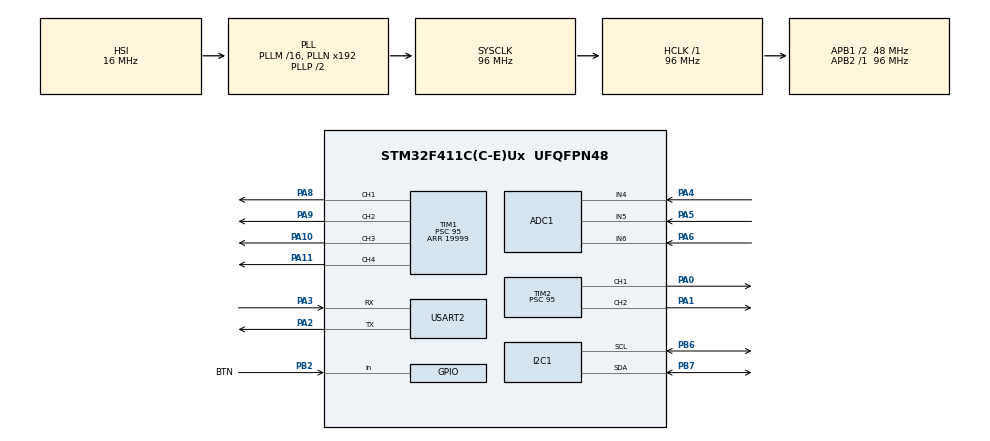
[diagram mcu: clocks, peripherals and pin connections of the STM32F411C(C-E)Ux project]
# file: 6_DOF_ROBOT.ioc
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ADC1.Channel-0\#ChannelRegularConversion=ADC_CHANNEL_4
ADC1.Channel-1\#ChannelRegularConversion=ADC_CHANNEL_5
ADC1.Channel-2\#ChannelRegularConversion=ADC_CHANNEL_6
ADC1.DMAContinuousRequests=ENABLE
ADC1.ExternalTrigConv=ADC_EXTERNALTRIGCONV_T3_TRGO
ADC1.NbrOfConversion=3
ADC1.NbrOfConversionFlag=1
ADC1.Rank-0\#ChannelRegularConversion=1
ADC1.Rank-1\#ChannelRegularConversion=2
ADC1.Rank-2\#ChannelRegularConversion=3
ADC1.SamplingTime-0\#ChannelRegularConversion=ADC_SAMPLETIME_3CYCLES
ADC1.SamplingTime-1\#ChannelRegularConversion=ADC_SAMPLETIME_3CYCLES
ADC1.SamplingTime-2\#ChannelRegularConversion=ADC_SAMPLETIME_3CYCLES
ADC1.master=1
Dma.ADC1.0.Direction=DMA_PERIPH_TO_MEMORY
Dma.ADC1.0.FIFOMode=DMA_FIFOMODE_DISABLE
Dma.ADC1.0.Instance=DMA2_Stream0
Dma.ADC1.0.MemDataAlignment=DMA_MDATAALIGN_HALFWORD
Dma.ADC1.0.MemInc=DMA_MINC_ENABLE
Dma.ADC1.0.Mode=DMA_CIRCULAR
Dma.ADC1.0.PeriphDataAlignment=DMA_PDATAALIGN_HALFWORD
Dma.ADC1.0.PeriphInc=DMA_PINC_DISABLE
Dma.ADC1.0.Priority=DMA_PRIORITY_LOW
Dma.Request0=ADC1
Mcu.Family=STM32F4
Mcu.Name=STM32F411C(C-E)Ux
Mcu.Package=UFQFPN48
NVIC.DMA2_Stream0_IRQn=true\:0\:0\:false\:false\:true\:false\:true\:true
NVIC.PriorityGroup=NVIC_PRIORITYGROUP_4
NVIC.USART2_IRQn=true\:0\:0\:false\:false\:true\:true\:true\:true
PA0-WKUP.Signal=S_TIM2_CH1_ETR
PA1.Signal=S_TIM2_CH2
PA10.Signal=S_TIM1_CH3
PA11.Signal=S_TIM1_CH4
PA2.Mode=Asynchronous
PA2.Signal=USART2_TX
PA3.Mode=Asynchronous
PA3.Signal=USART2_RX
PA4.Signal=ADCx_IN4
PA5.Signal=ADCx_IN5
PA6.Signal=ADCx_IN6
PA8.Signal=S_TIM1_CH1
PA9.Signal=S_TIM1_CH2
PB2.GPIO_Label=BTN
PB2.Signal=GPIO_Input
PB6.Mode=I2C
PB6.Signal=I2C1_SCL
PB7.Mode=I2C
PB7.Signal=I2C1_SDA
ProjectManager.HeapSize=0x200
ProjectManager.StackSize=0x400
ProjectManager.TargetToolchain=STM32CubeIDE
RCC.AHBFreq_Value=96000000
RCC.APB1CLKDivider=RCC_HCLK_DIV2
RCC.APB1Freq_Value=48000000
RCC.APB1TimFreq_Value=96000000
RCC.APB2Freq_Value=96000000
RCC.APB2TimFreq_Value=96000000
RCC.CortexFreq_Value=96000000
RCC.HCLKFreq_Value=96000000
RCC.HSE_VALUE=25000000
RCC.HSI_VALUE=16000000
RCC.LSE_VALUE=32768
RCC.SYSCLKFreq_VALUE=96000000
RCC.SYSCLKSource=RCC_SYSCLKSOURCE_PLLCLK
RCC.VCOOutputFreq_Value=192000000
SH.ADCx_IN4.0=ADC1_IN4,IN4
SH.ADCx_IN5.0=ADC1_IN5,IN5
SH.ADCx_IN6.0=ADC1_IN6,IN6
SH.S_TIM1_CH1.0=TIM1_CH1,PWM Generation1 CH1
SH.S_TIM1_CH2.0=TIM1_CH2,PWM Generation2 CH2
SH.S_TIM1_CH3.0=TIM1_CH3,PWM Generation3 CH3
SH.S_TIM1_CH4.0=TIM1_CH4,PWM Generation4 CH4
SH.S_TIM2_CH1_ETR.0=TIM2_CH1,PWM Generation1 CH1
SH.S_TIM2_CH2.0=TIM2_CH2,PWM Generation2 CH2
TIM1.Channel-PWM\ Generation1\ CH1=TIM_CHANNEL_1
TIM1.Channel-PWM\ Generation2\ CH2=TIM_CHANNEL_2
TIM1.Channel-PWM\ Generation3\ CH3=TIM_CHANNEL_3
TIM1.Channel-PWM\ Generation4\ CH4=TIM_CHANNEL_4
TIM1.Period=19999
TIM1.Prescaler=95
TIM1.Pulse-PWM\ Generation1\ CH1=1000
TIM1.Pulse-PWM\ Generation2\ CH2=1000
TIM1.Pulse-PWM\ Generation3\ CH3=1000
TIM1.Pulse-PWM\ Generation4\ CH4=1000
TIM2.Channel-PWM\ Generation1\ CH1=TIM_CHANNEL_1
TIM2.Channel-PWM\ Generation2\ CH2=TIM_CHANNEL_2
TIM2.Period=19999
TIM2.Prescaler=95
TIM2.Pulse-PWM\ Generation1\ CH1=1000
TIM2.Pulse-PWM\ Generation2\ CH2=1000
TIM3.Period=999
TIM3.Prescaler=95
TIM3.TIM_MasterOutputTrigger=TIM_TRGO_UPDATE
USART2.VirtualMode=VM_ASYNC
VP_TIM1_VS_ClockSourceINT.Mode=Internal
VP_TIM3_VS_ClockSourceINT.Mode=Internal
board=custom

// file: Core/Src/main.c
/* USER CODE BEGIN Header */
/**
 ******************************************************************************
 * @file           : main.c
 * @brief          : Main program body
 ******************************************************************************
 * @attention
 *
 * Copyright (c) 2026 STMicroelectronics.
 * All rights reserved.
 *
 * This software is licensed under terms that can be found in the LICENSE file
 * in the root directory of this software component.
 * If no LICENSE file comes with this software, it is provided AS-IS.
 *
 ******************************************************************************
 */
/* USER CODE END Header */
#include "main.h"

/* USER CODE BEGIN Includes */
#include <stdio.h>
#include <stdlib.h>
#include <stdbool.h>
#include <math.h>
#include <string.h>

#include "oled.h"
#include "nm_simplex.h"
#include "servo.h"
#include "utils.h"
/* USER CODE END Includes */

/* USER CODE BEGIN PD */

/*   SERVOS   */
#define SERVO_COUNT 	6

/*   DELAYS   */
#define INPUT_DELAY 	50
#define BTN_DELAY 		1000

/*   INPUTS   */
#define DEADZONE		120
#define AXIS_SPEED		1
#define AXIS_INVERSION	-1
#define DT				1
#define ADC_CENTER		2048
#define ADC_DIV			1000

/*   IK   */
#define IK_ITERATIONS	20

/* USER CODE END PD */

ADC_HandleTypeDef hadc1;
DMA_HandleTypeDef hdma_adc1;

I2C_HandleTypeDef hi2c1;

TIM_HandleTypeDef htim1;
TIM_HandleTypeDef htim2;
TIM_HandleTypeDef htim3;

UART_HandleTypeDef huart2;

/* USER CODE BEGIN PV */

uint8_t uart2_rx;
uint8_t uart2_buf[64];
uint8_t uart2_idx = 0;

/*   SERVOS    */

servo_t servos[SERVO_COUNT];

typedef enum {
	R_START = 0,
	R_BASE_ZERO_PRE,
	R_BASE_ZERO,
	R_BASE_PRE,
	R_BASE,
	R_IK,
	R_CMD_POS,
	R_ZERO_PRE,
	R_ZERO
} robot_state_t;

robot_state_t robot_state = R_START;

/*    IK    */
uint8_t update_ik = 0;

int16_t workspaceX_lim[2] = { -500, -50 };
int16_t workspaceY_lim[2] = { -500, 500 };
int16_t workspaceZ_lim[2] = { 30, 500 };

int16_t ik_phi0[4] = { 0 };
int16_t ik_solution[4] = { 0 };
int32_t ik_score = 0;
int16_t ik_target_pos[3] = { 0 };

int16_t phi_min[4] = { -80, -60, -15, -15 };
int16_t phi_max[4] = { 80, 60, 90, 90 };

int16_t ik_debug_xdeg[4];
int16_t ik_pos[3];
uint16_t ik_debug_xpos[4];

uint16_t servo_pulse[6] = { 0 };

/*   BASE   */
int16_t base_pos[4] = { 50, 40, 60, 15 };
int16_t base_point[3] = { -56, 15, 151 };

/*   CONTROLS   */

uint32_t last_button_click = 0;
uint8_t last_button_state = 1;
uint32_t last_inputs_check = 0;

uint16_t adc_buf[3];

int16_t controls_pos[3];

/*   Display  */
uint8_t gUpdateDisplay = 1;
char disp_buff[64];

/* USER CODE END PV */

void SystemClock_Config(void);
static void MX_GPIO_Init(void);
static void MX_DMA_Init(void);
static void MX_TIM1_Init(void);
static void MX_TIM2_Init(void);
static void MX_USART2_UART_Init(void);
static void MX_ADC1_Init(void);
static void MX_TIM3_Init(void);
static void MX_I2C1_Init(void);
/* USER CODE BEGIN PFP */

void parse_servo_command(char* buf);

void robotHandle();
void ikHandle();
void inputsHandle();
void buttonsHandle();
void displayHandle();

/* USER CODE END PFP */

int main(void) {

	/* MCU Configuration--------------------------------------------------------*/

	/* Reset of all peripherals, Initializes the Flash interface and the Systick. */
	HAL_Init();

	/* Configure the system clock */
	SystemClock_Config();

	/* Initialize all configured peripherals */
	MX_GPIO_Init();
	MX_DMA_Init();
	MX_TIM1_Init();
	MX_TIM2_Init();
	MX_USART2_UART_Init();
	MX_ADC1_Init();
	MX_TIM3_Init();
	MX_I2C1_Init();
	/* USER CODE BEGIN 2 */

	/*  CALCULATE ANGLES  */
	deg_to_pos(ik_phi0, 4);
	deg_to_pos(phi_min, 4);
	deg_to_pos(phi_max, 4);
	deg_to_pos(base_pos, 4);

	/*  ADC INIT  */
	HAL_TIM_Base_Start(&htim3);
	HAL_ADC_Start_DMA(&hadc1, (uint32_t*) adc_buf, 3);

	/*  DISPLAY INIT  */
	OLED_Init(&hi2c1);
	OLED_Clear();
	gUpdateDisplay = 1;

	/*  SERVOS INIT  */
	servoInit(&servos[0], &htim1, TIM_CHANNEL_1, 550, 2450, SERVO_POS_MID, 0);
	servoInit(&servos[1], &htim1, TIM_CHANNEL_2, 550, 2400, SERVO_POS_MID, 0);
	servoInit(&servos[2], &htim1, TIM_CHANNEL_3, 530, 2350, SERVO_POS_MID, 0);
	servoInit(&servos[3], &htim1, TIM_CHANNEL_4, 525, 2425, SERVO_POS_MID, 1);
	servoInit(&servos[4], &htim2, TIM_CHANNEL_1, 700, 2600, SERVO_POS_MID, 0);
	servoInit(&servos[5], &htim2, TIM_CHANNEL_2, 700, 2600, SERVO_POS_MID, 0);

	/*  UART RECEIVE  */
	HAL_UART_Receive_IT(&huart2, &uart2_rx, 1);

	/* USER CODE END 2 */

	/* Infinite loop */
	/* USER CODE BEGIN WHILE */
	while (1) {
		robotHandle();
		ikHandle();
		inputsHandle();
		buttonsHandle();
		displayHandle();

		/* USER CODE END WHILE */

	}
}

void SystemClock_Config(void) {
	RCC_OscInitTypeDef RCC_OscInitStruct = { 0 };
	RCC_ClkInitTypeDef RCC_ClkInitStruct = { 0 };

	/** Configure the main internal regulator output voltage
	 */
	__HAL_RCC_PWR_CLK_ENABLE();
	__HAL_PWR_VOLTAGESCALING_CONFIG(PWR_REGULATOR_VOLTAGE_SCALE1);

	/** Initializes the RCC Oscillators according to the specified parameters
	 * in the RCC_OscInitTypeDef structure.
	 */
	RCC_OscInitStruct.OscillatorType = RCC_OSCILLATORTYPE_HSI;
	RCC_OscInitStruct.HSIState = RCC_HSI_ON;
	RCC_OscInitStruct.HSICalibrationValue = RCC_HSICALIBRATION_DEFAULT;
	RCC_OscInitStruct.PLL.PLLState = RCC_PLL_ON;
	RCC_OscInitStruct.PLL.PLLSource = RCC_PLLSOURCE_HSI;
	RCC_OscInitStruct.PLL.PLLM = 16;
	RCC_OscInitStruct.PLL.PLLN = 192;
	RCC_OscInitStruct.PLL.PLLP = RCC_PLLP_DIV2;
	RCC_OscInitStruct.PLL.PLLQ = 4;
	if (HAL_RCC_OscConfig(&RCC_OscInitStruct) != HAL_OK) {
		Error_Handler();
	}

	/** Initializes the CPU, AHB and APB buses clocks
	 */
	RCC_ClkInitStruct.ClockType = RCC_CLOCKTYPE_HCLK | RCC_CLOCKTYPE_SYSCLK
			| RCC_CLOCKTYPE_PCLK1 | RCC_CLOCKTYPE_PCLK2;
	RCC_ClkInitStruct.SYSCLKSource = RCC_SYSCLKSOURCE_PLLCLK;
	RCC_ClkInitStruct.AHBCLKDivider = RCC_SYSCLK_DIV1;
	RCC_ClkInitStruct.APB1CLKDivider = RCC_HCLK_DIV2;
	RCC_ClkInitStruct.APB2CLKDivider = RCC_HCLK_DIV1;

	if (HAL_RCC_ClockConfig(&RCC_ClkInitStruct, FLASH_LATENCY_3) != HAL_OK) {
		Error_Handler();
	}
}

static void MX_ADC1_Init(void) {

	ADC_ChannelConfTypeDef sConfig = { 0 };

	/** Configure the global features of the ADC (Clock, Resolution, Data Alignment and number of conversion)
	 */
	hadc1.Instance = ADC1;
	hadc1.Init.ClockPrescaler = ADC_CLOCK_SYNC_PCLK_DIV4;
	hadc1.Init.Resolution = ADC_RESOLUTION_12B;
	hadc1.Init.ScanConvMode = ENABLE;
	hadc1.Init.ContinuousConvMode = DISABLE;
	hadc1.Init.DiscontinuousConvMode = DISABLE;
	hadc1.Init.ExternalTrigConvEdge = ADC_EXTERNALTRIGCONVEDGE_RISING;
	hadc1.Init.ExternalTrigConv = ADC_EXTERNALTRIGCONV_T3_TRGO;
	hadc1.Init.DataAlign = ADC_DATAALIGN_RIGHT;
	hadc1.Init.NbrOfConversion = 3;
	hadc1.Init.DMAContinuousRequests = ENABLE;
	hadc1.Init.EOCSelection = ADC_EOC_SINGLE_CONV;
	if (HAL_ADC_Init(&hadc1) != HAL_OK) {
		Error_Handler();
	}

	/** Configure for the selected ADC regular channel its corresponding rank in the sequencer and its sample time.
	 */
	sConfig.Channel = ADC_CHANNEL_4;
	sConfig.Rank = 1;
	sConfig.SamplingTime = ADC_SAMPLETIME_3CYCLES;
	if (HAL_ADC_ConfigChannel(&hadc1, &sConfig) != HAL_OK) {
		Error_Handler();
	}

	/** Configure for the selected ADC regular channel its corresponding rank in the sequencer and its sample time.
	 */
	sConfig.Channel = ADC_CHANNEL_5;
	sConfig.Rank = 2;
	if (HAL_ADC_ConfigChannel(&hadc1, &sConfig) != HAL_OK) {
		Error_Handler();
	}

	/** Configure for the selected ADC regular channel its corresponding rank in the sequencer and its sample time.
	 */
	sConfig.Channel = ADC_CHANNEL_6;
	sConfig.Rank = 3;
	if (HAL_ADC_ConfigChannel(&hadc1, &sConfig) != HAL_OK) {
		Error_Handler();
	}

}

static void MX_I2C1_Init(void) {

	hi2c1.Instance = I2C1;
	hi2c1.Init.ClockSpeed = 100000;
	hi2c1.Init.DutyCycle = I2C_DUTYCYCLE_2;
	hi2c1.Init.OwnAddress1 = 0;
	hi2c1.Init.AddressingMode = I2C_ADDRESSINGMODE_7BIT;
	hi2c1.Init.DualAddressMode = I2C_DUALADDRESS_DISABLE;
	hi2c1.Init.OwnAddress2 = 0;
	hi2c1.Init.GeneralCallMode = I2C_GENERALCALL_DISABLE;
	hi2c1.Init.NoStretchMode = I2C_NOSTRETCH_DISABLE;
	if (HAL_I2C_Init(&hi2c1) != HAL_OK) {
		Error_Handler();
	}

}

static void MX_TIM1_Init(void) {

	TIM_ClockConfigTypeDef sClockSourceConfig = { 0 };
	TIM_MasterConfigTypeDef sMasterConfig = { 0 };
	TIM_OC_InitTypeDef sConfigOC = { 0 };
	TIM_BreakDeadTimeConfigTypeDef sBreakDeadTimeConfig = { 0 };

	htim1.Instance = TIM1;
	htim1.Init.Prescaler = 95;
	htim1.Init.CounterMode = TIM_COUNTERMODE_UP;
	htim1.Init.Period = 19999;
	htim1.Init.ClockDivision = TIM_CLOCKDIVISION_DIV1;
	htim1.Init.RepetitionCounter = 0;
	htim1.Init.AutoReloadPreload = TIM_AUTORELOAD_PRELOAD_DISABLE;
	if (HAL_TIM_Base_Init(&htim1) != HAL_OK) {
		Error_Handler();
	}
	sClockSourceConfig.ClockSource = TIM_CLOCKSOURCE_INTERNAL;
	if (HAL_TIM_ConfigClockSource(&htim1, &sClockSourceConfig) != HAL_OK) {
		Error_Handler();
	}
	if (HAL_TIM_PWM_Init(&htim1) != HAL_OK) {
		Error_Handler();
	}
	sMasterConfig.MasterOutputTrigger = TIM_TRGO_RESET;
	sMasterConfig.MasterSlaveMode = TIM_MASTERSLAVEMODE_DISABLE;
	if (HAL_TIMEx_MasterConfigSynchronization(&htim1, &sMasterConfig)
			!= HAL_OK) {
		Error_Handler();
	}
	sConfigOC.OCMode = TIM_OCMODE_PWM1;
	sConfigOC.Pulse = 1000;
	sConfigOC.OCPolarity = TIM_OCPOLARITY_HIGH;
	sConfigOC.OCNPolarity = TIM_OCNPOLARITY_HIGH;
	sConfigOC.OCFastMode = TIM_OCFAST_DISABLE;
	sConfigOC.OCIdleState = TIM_OCIDLESTATE_RESET;
	sConfigOC.OCNIdleState = TIM_OCNIDLESTATE_RESET;
	if (HAL_TIM_PWM_ConfigChannel(&htim1, &sConfigOC, TIM_CHANNEL_1)
			!= HAL_OK) {
		Error_Handler();
	}
	if (HAL_TIM_PWM_ConfigChannel(&htim1, &sConfigOC, TIM_CHANNEL_2)
			!= HAL_OK) {
		Error_Handler();
	}
	if (HAL_TIM_PWM_ConfigChannel(&htim1, &sConfigOC, TIM_CHANNEL_3)
			!= HAL_OK) {
		Error_Handler();
	}
	if (HAL_TIM_PWM_ConfigChannel(&htim1, &sConfigOC, TIM_CHANNEL_4)
			!= HAL_OK) {
		Error_Handler();
	}
	sBreakDeadTimeConfig.OffStateRunMode = TIM_OSSR_DISABLE;
	sBreakDeadTimeConfig.OffStateIDLEMode = TIM_OSSI_DISABLE;
	sBreakDeadTimeConfig.LockLevel = TIM_LOCKLEVEL_OFF;
	sBreakDeadTimeConfig.DeadTime = 0;
	sBreakDeadTimeConfig.BreakState = TIM_BREAK_DISABLE;
	sBreakDeadTimeConfig.BreakPolarity = TIM_BREAKPOLARITY_HIGH;
	sBreakDeadTimeConfig.AutomaticOutput = TIM_AUTOMATICOUTPUT_DISABLE;
	if (HAL_TIMEx_ConfigBreakDeadTime(&htim1, &sBreakDeadTimeConfig)
			!= HAL_OK) {
		Error_Handler();
	}
	HAL_TIM_MspPostInit(&htim1);

}

static void MX_TIM2_Init(void) {

	TIM_MasterConfigTypeDef sMasterConfig = { 0 };
	TIM_OC_InitTypeDef sConfigOC = { 0 };

	htim2.Instance = TIM2;
	htim2.Init.Prescaler = 95;
	htim2.Init.CounterMode = TIM_COUNTERMODE_UP;
	htim2.Init.Period = 19999;
	htim2.Init.ClockDivision = TIM_CLOCKDIVISION_DIV1;
	htim2.Init.AutoReloadPreload = TIM_AUTORELOAD_PRELOAD_DISABLE;
	if (HAL_TIM_PWM_Init(&htim2) != HAL_OK) {
		Error_Handler();
	}
	sMasterConfig.MasterOutputTrigger = TIM_TRGO_RESET;
	sMasterConfig.MasterSlaveMode = TIM_MASTERSLAVEMODE_DISABLE;
	if (HAL_TIMEx_MasterConfigSynchronization(&htim2, &sMasterConfig)
			!= HAL_OK) {
		Error_Handler();
	}
	sConfigOC.OCMode = TIM_OCMODE_PWM1;
	sConfigOC.Pulse = 1000;
	sConfigOC.OCPolarity = TIM_OCPOLARITY_HIGH;
	sConfigOC.OCFastMode = TIM_OCFAST_DISABLE;
	if (HAL_TIM_PWM_ConfigChannel(&htim2, &sConfigOC, TIM_CHANNEL_1)
			!= HAL_OK) {
		Error_Handler();
	}
	if (HAL_TIM_PWM_ConfigChannel(&htim2, &sConfigOC, TIM_CHANNEL_2)
			!= HAL_OK) {
		Error_Handler();
	}
	HAL_TIM_MspPostInit(&htim2);

}

static void MX_TIM3_Init(void) {

	TIM_ClockConfigTypeDef sClockSourceConfig = { 0 };
	TIM_MasterConfigTypeDef sMasterConfig = { 0 };

	htim3.Instance = TIM3;
	htim3.Init.Prescaler = 95;
	htim3.Init.CounterMode = TIM_COUNTERMODE_UP;
	htim3.Init.Period = 999;
	htim3.Init.ClockDivision = TIM_CLOCKDIVISION_DIV1;
	htim3.Init.AutoReloadPreload = TIM_AUTORELOAD_PRELOAD_DISABLE;
	if (HAL_TIM_Base_Init(&htim3) != HAL_OK) {
		Error_Handler();
	}
	sClockSourceConfig.ClockSource = TIM_CLOCKSOURCE_INTERNAL;
	if (HAL_TIM_ConfigClockSource(&htim3, &sClockSourceConfig) != HAL_OK) {
		Error_Handler();
	}
	sMasterConfig.MasterOutputTrigger = TIM_TRGO_UPDATE;
	sMasterConfig.MasterSlaveMode = TIM_MASTERSLAVEMODE_DISABLE;
	if (HAL_TIMEx_MasterConfigSynchronization(&htim3, &sMasterConfig)
			!= HAL_OK) {
		Error_Handler();
	}

}

static void MX_USART2_UART_Init(void) {

	huart2.Instance = USART2;
	huart2.Init.BaudRate = 115200;
	huart2.Init.WordLength = UART_WORDLENGTH_8B;
	huart2.Init.StopBits = UART_STOPBITS_1;
	huart2.Init.Parity = UART_PARITY_NONE;
	huart2.Init.Mode = UART_MODE_TX_RX;
	huart2.Init.HwFlowCtl = UART_HWCONTROL_NONE;
	huart2.Init.OverSampling = UART_OVERSAMPLING_16;
	if (HAL_UART_Init(&huart2) != HAL_OK) {
		Error_Handler();
	}

}

static void MX_DMA_Init(void) {

	/* DMA controller clock enable */
	__HAL_RCC_DMA2_CLK_ENABLE();

	/* DMA interrupt init */
	/* DMA2_Stream0_IRQn interrupt configuration */
	HAL_NVIC_SetPriority(DMA2_Stream0_IRQn, 0, 0);
	HAL_NVIC_EnableIRQ(DMA2_Stream0_IRQn);

}

static void MX_GPIO_Init(void) {
	GPIO_InitTypeDef GPIO_InitStruct = { 0 };

	/* GPIO Ports Clock Enable */
	__HAL_RCC_GPIOA_CLK_ENABLE();
	__HAL_RCC_GPIOB_CLK_ENABLE();

	/*Configure GPIO pin : BTN_Pin */
	GPIO_InitStruct.Pin = BTN_Pin;
	GPIO_InitStruct.Mode = GPIO_MODE_INPUT;
	GPIO_InitStruct.Pull = GPIO_NOPULL;
	HAL_GPIO_Init(BTN_GPIO_Port, &GPIO_InitStruct);

}

/* USER CODE BEGIN 4 */

static inline uint8_t reached(uint16_t a, uint16_t b) {
	return (a > b) ? (a - b < 5) : (b - a < 5);
}

static int16_t normalize_axis(uint16_t adc) {
	int32_t centered = (int32_t) adc - ADC_CENTER;

	if (centered > -DEADZONE && centered < DEADZONE) {
		return 0;
	}

	return (int16_t) (centered / ADC_DIV);
}

void parse_servo_command(char* buf) {
	if (strncmp(buf, "SERVO_POS", 9) == 0) {
		if (robot_state != R_CMD_POS) {
			return;
		}

		int id;
		int pos;

		if (sscanf(buf, "SERVO_POS,%d,%d", &id, &pos) != 2) {
			return;
		}

		if (id < 0 || id >= SERVO_COUNT) {
			return;
		}

		if (pos < SERVO_POS_MIN || pos > SERVO_POS_MAX) {
			return;
		}

		servoSetTarget(&servos[id], (uint16_t) pos);
		gUpdateDisplay = 1;
		return;
	} else if (strncmp(buf, "SET_IK", 6) == 0) {
		if (robot_state != R_IK) {
			return;
		}

		int tempx, tempy, tempz;

		if (sscanf(buf, "SET_IK,%d,%d,%d", &tempx, &tempy, &tempz) != 3) {
			return;
		}
		tempx = clamp_int16(tempx, workspaceX_lim[0], workspaceX_lim[1]);
		tempy = clamp_int16(tempy, workspaceY_lim[0], workspaceY_lim[1]);
		tempz = clamp_int16(tempz, workspaceZ_lim[0], workspaceZ_lim[1]);

		ik_target_pos[0] = (int16_t) tempx;
		ik_target_pos[1] = (int16_t) tempy;
		ik_target_pos[2] = (int16_t) tempz;

		controls_pos[0] = (int16_t) tempx;
		controls_pos[1] = (int16_t) tempy;
		controls_pos[2] = (int16_t) tempz;

		update_ik = 1;

		return;
	} else if (strncmp(buf, "ZERO", 4) == 0) {
		robot_state = R_ZERO_PRE;
		gUpdateDisplay = 1;
		return;
	} else if (strncmp(buf, "START", 5) == 0) {
		robot_state = R_BASE_ZERO_PRE;
		gUpdateDisplay = 1;
		return;
	} else if (strncmp(buf, "CMD_POS", 7) == 0) {
		robot_state = R_CMD_POS;
		gUpdateDisplay = 1;
		return;
	} else if (strncmp(buf, "IK", 2) == 0) {
		robot_state = R_IK;
		gUpdateDisplay = 1;
		return;
	}
}

void HAL_UART_RxCpltCallback(UART_HandleTypeDef* huart) {
	if (huart->Instance == USART2) {
		if (uart2_rx == '\n') {
			uart2_buf[uart2_idx] = 0;
			parse_servo_command((char*) uart2_buf);
			uart2_idx = 0;
		} else {
			uart2_buf[uart2_idx++] = uart2_rx;

			if (uart2_idx >= sizeof(uart2_buf)) {
				uart2_idx = 0;
			}
		}

		HAL_UART_Receive_IT(&huart2, &uart2_rx, 1);
	}
}

void robotHandle(void) {
	bool bAllServosReachedTarget = 1;

	switch (robot_state) {
	case R_BASE_ZERO_PRE:
		for (uint8_t i = 0; i < 5; i++) {
			servos[i].target_pos = SERVO_POS_MID;
			servo_pulse[i] = pos_to_pulse(&servos[i], SERVO_POS_MID);
		}
		robot_state = R_BASE_ZERO;
		break;
	case R_BASE_ZERO:
		for (uint8_t i = 0; i < SERVO_COUNT; i++) {
			if (!reached(servos[i].current_pos, servos[i].target_pos)) {
				bAllServosReachedTarget = 0;
				break;
			}
		}
		if (bAllServosReachedTarget) {
			robot_state = R_BASE_PRE;
		}
		break;
	case R_BASE_PRE:
		for (uint8_t i = 0; i < 4; i++) {
			servos[i].target_pos = base_pos[i];
			servo_pulse[i] = pos_to_pulse(&servos[i], base_pos[i]);

		}
		robot_state = R_BASE;
		gUpdateDisplay = 1;
		break;

	case R_BASE:
		for (uint8_t i = 0; i < SERVO_COUNT; i++) {
			if (!reached(servos[i].current_pos, servos[i].target_pos)) {
				bAllServosReachedTarget = 0;
				break;
			}
		}
		if (bAllServosReachedTarget) {
			robot_state = R_IK;
			gUpdateDisplay = 1;
			for (uint8_t i = 0; i < SERVO_COUNT; i++) {
				ik_phi0[i] = servos[i].current_pos;
			}
			calculate_position_from_servo(ik_phi0, ik_target_pos);
			for (uint8_t i = 0; i < 3; i++) {
				controls_pos[i] = ik_target_pos[i];
				ik_pos[i] = ik_target_pos[i];
			}
			update_ik = 0;
		}

		break;
	case R_ZERO_PRE:
		for (uint8_t i = 0; i < 5; i++) {
			servos[i].target_pos = SERVO_POS_MID;
			servo_pulse[i] = pos_to_pulse(&servos[i], SERVO_POS_MID);
		}
		robot_state = R_ZERO;
		gUpdateDisplay = 1;
		break;
	case R_ZERO:
		break;

	default:
		break;
	}

	uint32_t now = HAL_GetTick();
	for (uint8_t i = 0; i < SERVO_COUNT; i++) {
		servoUpdate(&servos[i], now);
	}
}

void ikHandle() {
	if (robot_state != R_IK) {
		return;
	}
	if (!update_ik) {
		return;
	}
	update_ik = 0;
	nm_simplex(calculate_function_cost, ik_phi0, IK_ITERATIONS, &ik_score,
			ik_solution, ik_target_pos, phi_min, phi_max);
	for (uint8_t i = 0; i < 4; i++) {
		ik_solution[i] = clamp_int16(ik_solution[i], phi_min[i], phi_max[i]);

		ik_phi0[i] = ik_solution[i];
		ik_debug_xdeg[i] = ik_solution[i];
		ik_debug_xpos[i] = ik_solution[i];
	}
	pos_to_deg(ik_debug_xdeg, 4);

	for (uint8_t i = 0; i < 4; i++) {
		servoSetTarget(&servos[i], ik_debug_xpos[i]);
		servo_pulse[i] = pos_to_pulse(&servos[i], ik_debug_xpos[i]);
	}
	calculate_position_from_servo(ik_solution, ik_pos);

	gUpdateDisplay = 1;
}

void inputsHandle() {
	if (robot_state != R_IK) {
		return;
	}

	uint32_t now = HAL_GetTick();
	if (now - last_inputs_check < INPUT_DELAY) {
		return;
	}
	last_inputs_check = now;

	int16_t axis_speed = AXIS_SPEED * AXIS_INVERSION;

	int16_t norm_X = normalize_axis(adc_buf[0]);
	int16_t norm_Y = normalize_axis(adc_buf[1]);
	int16_t norm_Z = normalize_axis(adc_buf[2]);

	if (norm_X != 0 || norm_Y != 0 || norm_Z != 0) {
		controls_pos[0] += norm_X * axis_speed * DT;
		controls_pos[1] += norm_Y * axis_speed * DT;
		controls_pos[2] += norm_Z * axis_speed * DT;
		controls_pos[0] = clamp_int16(controls_pos[0], workspaceX_lim[0],
				workspaceX_lim[1]);
		controls_pos[1] = clamp_int16(controls_pos[1], workspaceY_lim[0],
				workspaceY_lim[1]);
		controls_pos[2] = clamp_int16(controls_pos[2], workspaceZ_lim[0],
				workspaceZ_lim[1]);

		for (uint8_t i = 0; i < 3; i++) {
			ik_target_pos[i] = controls_pos[i];
		}
		update_ik = 1;
	}
}

void buttonsHandle() {
	uint32_t now = HAL_GetTick();

	if (now - last_button_click < BTN_DELAY) {
		return;
	}

	uint8_t state = HAL_GPIO_ReadPin(BTN_GPIO_Port, BTN_Pin);

	if (state == 0 && last_button_state == 1) {
		if (robot_state == R_IK) {
			robot_state = R_ZERO_PRE;
			gUpdateDisplay = 1;
		} else if (robot_state == R_ZERO || robot_state == R_START) {
			robot_state = R_BASE_ZERO_PRE;
			gUpdateDisplay = 1;
		}
		last_button_click = now;
	}
	last_button_state = state;

}

void displayHandle() {
	if (!gUpdateDisplay) {
		return;
	}
	gUpdateDisplay = 0;
	OLED_Clear();
	switch (robot_state) {
	case R_ZERO:
		sprintf(disp_buff, "Zero");
		OLED_WriteText(disp_buff, 0, 0, 6);
		sprintf(disp_buff, "Press BASE btn");
		OLED_WriteText(disp_buff, 0, 12, 6);
		break;
	case R_START:
		sprintf(disp_buff, "Start");
		OLED_WriteText(disp_buff, 0, 0, 6);
		sprintf(disp_buff, "Press BASE btn");
		OLED_WriteText(disp_buff, 0, 12, 6);
		break;
	case R_CMD_POS:
		sprintf(disp_buff, "CMD POS");
		OLED_WriteText(disp_buff, 0, 0, 6);
		sprintf(disp_buff, "%d,%d,%d,%d,%d,%d", servos[0].current_pos,
				servos[1].current_pos, servos[2].current_pos,
				servos[3].current_pos, servos[4].current_pos,
				servos[5].current_pos);
		OLED_WriteText(disp_buff, 0, 12, 6);
		break;
	case R_IK:
		sprintf(disp_buff, "Inverse Kinematics:");
		OLED_WriteText(disp_buff, 0, 0, 6);
		sprintf(disp_buff, "P: %d,%d,%d", ik_target_pos[0], ik_target_pos[1],
				ik_target_pos[2]);
		OLED_WriteText(disp_buff, 0, 12, 6);
		sprintf(disp_buff, "K: %d,%d,%d", ik_pos[0], ik_pos[1], ik_pos[2]);
		OLED_WriteText(disp_buff, 0, 24, 6);
		break;
	default:
		sprintf(disp_buff, "Please wait.");
		OLED_WriteText(disp_buff, 0, 0, 6);
		break;
	}
	OLED_Update();
}

/* USER CODE END 4 */

void Error_Handler(void) {
	__disable_irq();
	while (1) {
	}
}
